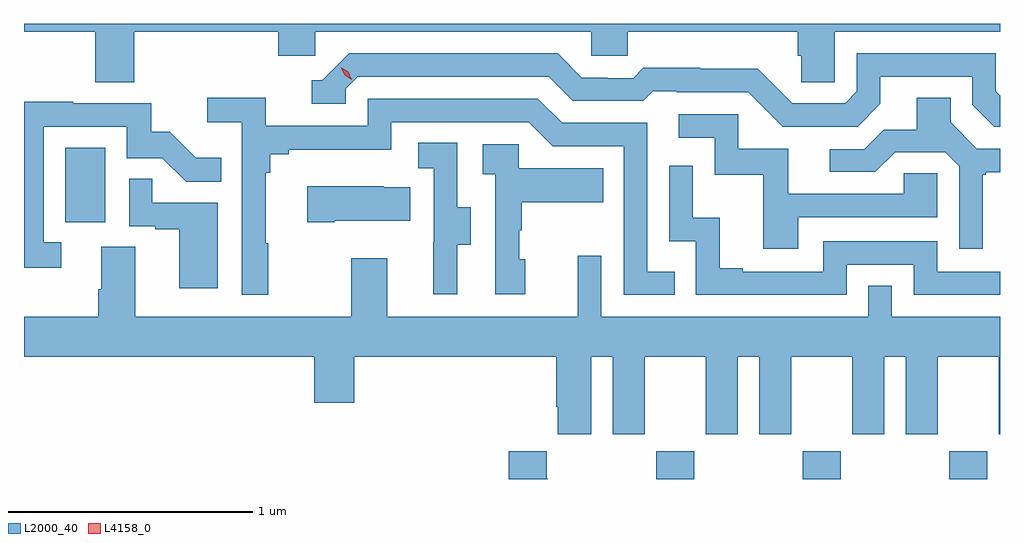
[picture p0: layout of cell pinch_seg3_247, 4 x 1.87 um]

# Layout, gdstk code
import gdstk
lib = gdstk.Library(unit=1e-6, precision=1e-09)
def R(c, l, rs):  # rectangles x0, y0, x1, y1
    for r in rs: c.add(gdstk.rectangle(r[:2], r[2:], *l))
def A(c, l, x, y, w, h, nx, ny, dx, dy):  # array of equal rectangles
    R(c, l, [(x+i*dx, y+j*dy, x+i*dx+w, y+j*dy+h) for i in range(nx) for j in range(ny)])
def P(c, l, *ps):  # polygons
    for p in ps: c.add(gdstk.Polygon(p, *l))
L2000_40 = (2000, 40)
L4158_0 = (4158, 0)

pinch_seg3_247 = lib.new_cell('pinch_seg3_247')
A(pinch_seg3_247, L2000_40, 909.667, 747.034, 0.155, 0.114, 3, 1, 0.6, 0)
R(pinch_seg3_247, L2000_40, [(907.244,748.086,907.408,748.393)])
P(pinch_seg3_247, L2000_40, [(907.526,748.868),(908.117,748.868),(908.117,748.77),(908.268,748.77),(908.268,748.868),(909.399,748.868),(909.399,748.77),(909.549,748.77),(909.549,748.868),(910.247,748.868),(910.247,748.77),(910.261,748.77),(910.261,748.66),(910.398,748.66),(910.398,748.868),(911.075,748.868),(911.075,748.9),(907.075,748.9),(907.075,748.868),(907.366,748.868),(907.366,748.66),(907.526,748.66)],
  [(910.585,748.573),(910.585,748.683),(910.962,748.683),(910.962,748.569),(911.052,748.479),(911.075,748.479),(911.075,748.606),(911.058,748.623),(911.058,748.779),(910.488,748.779),(910.488,748.623),(910.44,748.575),(910.224,748.575),(910.082,748.717),(909.846,748.717),(909.846,748.72),(909.613,748.72),(909.571,748.677),(909.468,748.677),(909.468,748.68),(909.361,748.68),(909.262,748.779),(908.409,748.779),(908.298,748.668),(908.255,748.668),(908.255,748.572),(908.394,748.572),(908.394,748.635),(908.442,748.683),(909.225,748.683),(909.324,748.584),(909.613,748.584),(909.652,748.623),(909.751,748.623),(909.751,748.62),(910.044,748.62),(910.185,748.479),(910.491,748.479)],
  [(908.077,748.001),(908.065,748.001),(908.065,748.289),(908.084,748.289),(908.084,748.366),(908.161,748.366),(908.161,748.385),(908.58,748.385),(908.58,748.497),(909.144,748.497),(909.243,748.398),(909.534,748.398),(909.534,747.789),(909.743,747.789),(909.743,747.885),(909.63,747.885),(909.63,748.494),(909.28,748.494),(909.181,748.593),(908.484,748.593),(908.484,748.482),(908.066,748.482),(908.066,748.598),(907.827,748.598),(907.827,748.496),(907.968,748.496),(907.968,747.789),(908.077,747.789)],
  [(911.005,748.281),(911.017,748.281),(911.017,748.292),(911.075,748.292),(911.075,748.389),(910.98,748.389),(910.873,748.496),(910.873,748.598),(910.733,748.598),(910.733,748.466),(910.598,748.466),(910.518,748.386),(910.377,748.386),(910.377,748.293),(910.564,748.293),(910.645,748.374),(910.851,748.374),(910.908,748.317),(910.908,747.978),(911.005,747.978)],
  [(907.228,748.005),(907.155,748.005),(907.155,748.479),(907.497,748.479),(907.497,748.35),(907.641,748.35),(907.739,748.252),(907.883,748.252),(907.883,748.351),(907.779,748.351),(907.672,748.458),(907.596,748.458),(907.596,748.575),(907.277,748.575),(907.277,748.58),(907.075,748.58),(907.075,747.9),(907.228,747.9)],
  [(910.249,748.107),(910.818,748.107),(910.818,748.287),(910.681,748.287),(910.681,748.203),(910.207,748.203),(910.207,748.389),(910.002,748.389),(910.002,748.53),(909.759,748.53),(909.759,748.434),(909.906,748.434),(909.906,748.281),(910.105,748.281),(910.105,747.978),(910.249,747.978)],
  [(908.851,747.994),(908.905,747.994),(908.905,748.149),(908.85,748.149),(908.85,748.412),(908.691,748.412),(908.691,748.309),(908.754,748.309),(908.754,748.005),(908.753,748.005),(908.753,747.792),(908.851,747.792)],
  [(909.13,747.936),(909.105,747.936),(909.105,748.055),(909.115,748.055),(909.115,748.169),(909.449,748.169),(909.449,748.309),(909.102,748.309),(909.102,748.407),(908.955,748.407),(908.955,748.283),(909.006,748.283),(909.006,747.792),(909.13,747.792)],
  [(910.446,747.912),(910.722,747.912),(910.722,747.789),(911.075,747.789),(911.075,747.885),(910.818,747.885),(910.818,748.008),(910.35,748.008),(910.35,747.885),(910.021,747.885),(910.021,747.898),(909.926,747.898),(909.926,748.106),(909.816,748.106),(909.816,748.318),(909.72,748.318),(909.72,748.008),(909.828,748.008),(909.828,747.789),(910.446,747.789)],
  [(907.87,748.167),(907.601,748.167),(907.601,748.265),(907.506,748.265),(907.506,748.071),(907.613,748.071),(907.613,748.059),(907.712,748.059),(907.712,747.816),(907.87,747.816)],
  [(908.347,748.094),(908.657,748.094),(908.657,748.231),(908.549,748.231),(908.549,748.234),(908.235,748.234),(908.235,748.087),(908.347,748.087)],
  [(909.4,747.536),(909.488,747.536),(909.488,747.219),(909.619,747.219),(909.619,747.536),(909.869,747.536),(909.869,747.219),(910,747.219),(910,747.536),(910.088,747.536),(910.088,747.219),(910.219,747.219),(910.219,747.536),(910.469,747.536),(910.469,747.219),(910.6,747.219),(910.6,747.536),(910.688,747.536),(910.688,747.219),(910.819,747.219),(910.819,747.536),(911.069,747.536),(911.069,747.219),(911.075,747.219),(911.075,747.7),(910.632,747.7),(910.632,747.827),(910.536,747.827),(910.536,747.7),(909.441,747.7),(909.441,747.949),(909.344,747.949),(909.344,747.7),(908.563,747.7),(908.563,747.94),(908.416,747.94),(908.416,747.7),(907.531,747.7),(907.531,747.986),(907.391,747.986),(907.391,747.812),(907.379,747.812),(907.379,747.7),(907.075,747.7),(907.075,747.536),(908.264,747.536),(908.264,747.348),(908.428,747.348),(908.428,747.536),(909.257,747.536),(909.257,747.331),(909.263,747.331),(909.263,747.219),(909.4,747.219)],
  [(909.222,747.035),(909.217,747.035),(909.217,747.148),(909.062,747.148),(909.062,747.034),(909.222,747.034)])
P(pinch_seg3_247, L4158_0, [(908.419,748.671),(908.389,748.69),(908.373,748.722),(908.373,748.723),(908.373,748.723),(908.403,748.703),(908.419,748.671),(908.419,748.671)])

lib.write_gds('pinch_seg3_247.gds')
